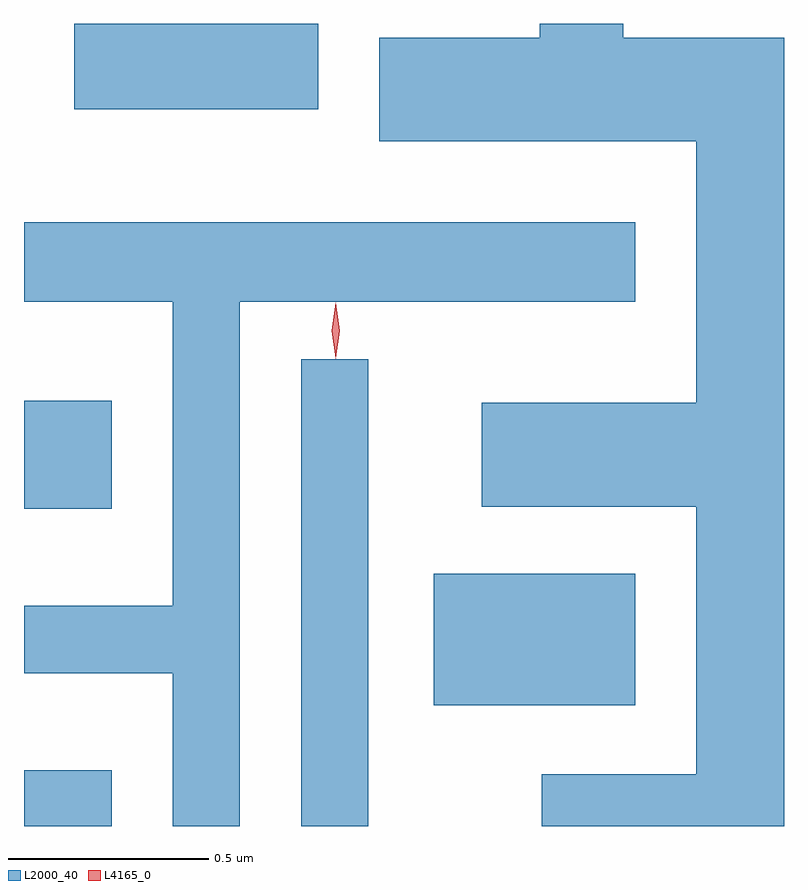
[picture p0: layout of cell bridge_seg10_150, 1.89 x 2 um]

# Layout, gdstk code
import gdstk
lib = gdstk.Library(unit=1e-6, precision=1e-09)
def R(c, l, rs):  # rectangles x0, y0, x1, y1
    for r in rs: c.add(gdstk.rectangle(r[:2], r[2:], *l))
def P(c, l, *ps):  # polygons
    for p in ps: c.add(gdstk.Polygon(p, *l))
L2000_40 = (2000, 40)
L4165_0 = (4165, 0)

bridge_seg10_150 = lib.new_cell('bridge_seg10_150')
R(bridge_seg10_150, L2000_40, [(1641.791,2141.009,1642.009,2141.149), (1642.481,2141.009,1642.649,2142.173), (1642.811,2141.311,1643.314,2141.639), (1641.791,2141.801,1642.009,2142.069), (1641.916,2142.796,1642.524,2143.009)])
P(bridge_seg10_150, L2000_40, [(1643.684,2142.974),(1643.284,2142.974),(1643.284,2143.009),(1643.076,2143.009),(1643.076,2142.974),(1642.676,2142.974),(1642.676,2142.716),(1643.466,2142.716),(1643.466,2142.064),(1642.931,2142.064),(1642.931,2141.806),(1643.466,2141.806),(1643.466,2141.139),(1643.081,2141.139),(1643.081,2141.009),(1643.684,2141.009)],
  [(1642.329,2142.316),(1643.314,2142.316),(1643.314,2142.514),(1641.791,2142.514),(1641.791,2142.316),(1642.161,2142.316),(1642.161,2141.559),(1641.791,2141.559),(1641.791,2141.391),(1642.161,2141.391),(1642.161,2141.009),(1642.329,2141.009)])
P(bridge_seg10_150, L4165_0, [(1642.567,2142.178),(1642.558,2142.244),(1642.567,2142.311),(1642.568,2142.311),(1642.568,2142.311),(1642.578,2142.244),(1642.568,2142.178),(1642.568,2142.178)],
  [(1642.568,2142.174),(1642.567,2142.175),(1642.558,2142.244),(1642.567,2142.313),(1642.568,2142.314),(1642.568,2142.313),(1642.578,2142.244),(1642.568,2142.175)])

lib.write_gds('bridge_seg10_150.gds')
